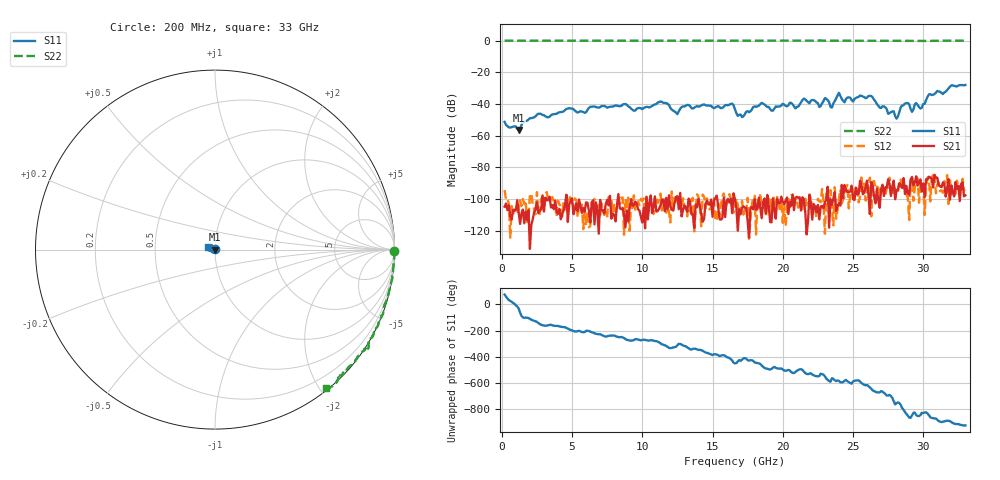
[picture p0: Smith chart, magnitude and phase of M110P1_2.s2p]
# GHZ S RI R 50
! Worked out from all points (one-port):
!   329 points, 200 MHz to 33 GHz, reference 50 ohm
!   lowest |S11| = -56.3 dB at 1.2 GHz (marker M1), VSWR 1.00, Z = 50.1 - j0.0797 ohm
!   |S11| at or under -10 dB: start of sweep to end of sweep
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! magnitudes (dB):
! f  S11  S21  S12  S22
! 200 MHz  -51.3  -105.0  -94.4  0.0
! 1.2 GHz  -56.3  -108.1  -106.4  0.0
! 2.6 GHz  -46.2  -109.0  -107.3  0.0
! 5.7 GHz  -44.8  -108.8  -103.6  0.0
! 11.2 GHz  -38.7  -106.3  -101.1  0.0
! 12.5 GHz  -46.4  -98.3  -101.7  -0.1
! 13.2 GHz  -40.6  -108.1  -111.0  -0.1
! 16.6 GHz  -43.4  -100.2  -105.0  0.0
! 17.1 GHz  -48.3  -105.8  -101.3  0.0
! 18.5 GHz  -39.3  -112.2  -107.0  0.0
! 19.3 GHz  -44.2  -99.8  -98.3  0.0
! 22.1 GHz  -37.5  -113.0  -105.8  0.0
! 23.5 GHz  -42.3  -103.6  -106.0  0.0
! 24 GHz  -33.0  -102.6  -99.9  0.0
! 24.4 GHz  -38.9  -91.2  -98.8  0.0
! 26.3 GHz  -35.0  -89.4  -111.1  0.0
! 27.6 GHz  -45.7  -90.6  -86.5  -0.1
! 28.1 GHz  -49.3  -94.5  -96.1  -0.1
! 28.7 GHz  -39.7  -96.9  -95.5  0.0
! 29.2 GHz  -44.9  -86.1  -86.6  -0.1
! 30.4 GHz  -34.0  -85.9  -86.8  -0.2
! 33 GHz  -27.9  -97.7  -94.4  -0.1
